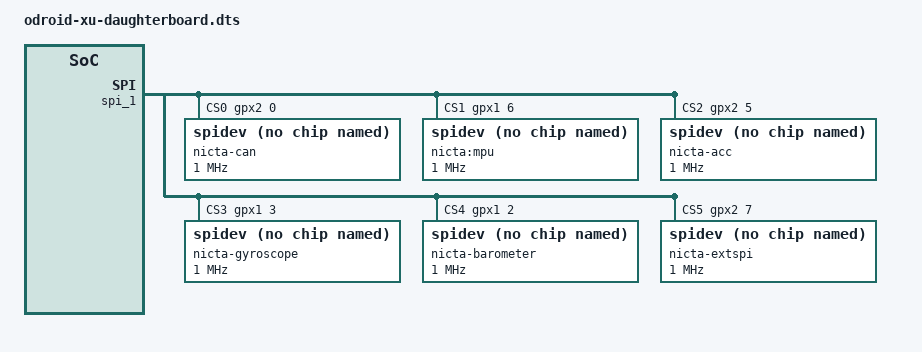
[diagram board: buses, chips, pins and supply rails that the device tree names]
/*
 * Odroid-XU board with NICTA daughterboard.
 * This file contains only extensions to hook
 * SPI to the right CS lines.
 */
#include "exynos5410-odroidxu.dts"
/ {

spi_1: spi@12d30000 {
    status = "okay";
    num-cs = <6>;
    cs-gpios = <&gpx2 0 0>, <&gpx1 6 0>, <&gpx2 5 0>, 
       		  <&gpx1 3 0>, <&gpx1 2 0>, <&gpx2 7 0>;
    samsung,spi-src-clk = <0>;
    nicta-can {
      	     compatible = "spidev";
	     spi-max-frequency = <1000000>; /* 1MHz */
	     reg =  <0>;
	     controller-data {
	       cs-gpio = <&gpx2 0 0>;
	       samsung,spi-feedback-delay = <2>;
	     };
    };
    nicta-mpu {
      compatible = "spidev";
      label = "nicta:mpu";
      spi-max-frequency = <1000000>; /* 1MHz */
      reg =  <1>;
      controller-data {
	cs-gpio = <&gpx1 6 0>;
	samsung,spi-feedback-delay = <2>;
      };
    };
    nicta-acc {
      compatible = "spidev";
      spi-max-frequency = <1000000>; /* 1MHz */
      reg =  <2>;
      controller-data {
	cs-gpio = <&gpx2 5 0>;
	samsung,spi-feedback-delay = <2>;
      };
    };
    nicta-gyroscope {
      compatible = "spidev";
      spi-max-frequency = <1000000>; /* 1MHz */
      reg =  <3>;
      controller-data {
	cs-gpio = <&gpx1 3 0>;
	samsung,spi-feedback-delay = <2>;
      };
    };
    nicta-barometer {
      compatible = "spidev";
      reg = <4>;
      spi-max-frequency = <1000000>; /* 1MHz */
      controller-data {
	cs-gpio = <&gpx1 2 0>;
	samsung,spi-feedback-delay = <2>;
      };
    };
    nicta-extspi {
      compatible = "spidev";
      reg = <5>;
      spi-max-frequency = <1000000>; /* 1MHz */
      controller-data {
	cs-gpio = <&gpx2 7 0>;
	samsung,spi-feedback-delay = <0>;
      };
    };
};	     		
 };
